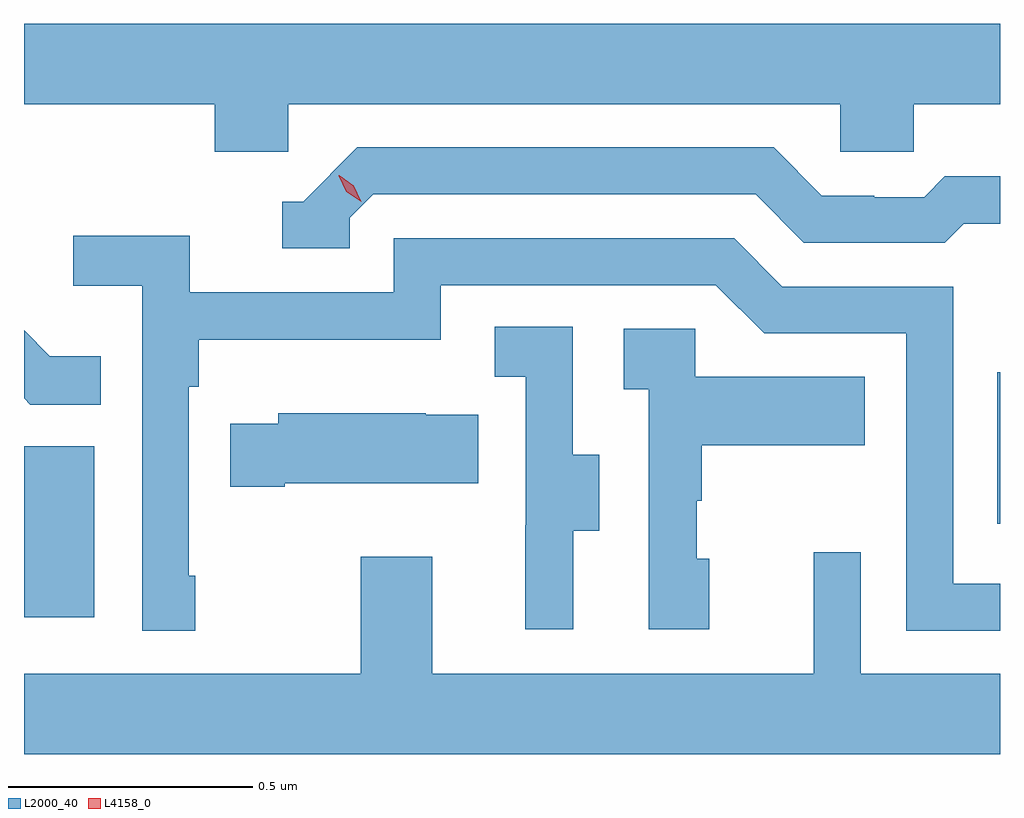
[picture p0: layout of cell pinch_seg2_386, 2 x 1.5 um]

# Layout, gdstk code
import gdstk
lib = gdstk.Library(unit=1e-6, precision=1e-09)
def R(c, l, rs):  # rectangles x0, y0, x1, y1
    for r in rs: c.add(gdstk.rectangle(r[:2], r[2:], *l))
def P(c, l, *ps):  # polygons
    for p in ps: c.add(gdstk.Polygon(p, *l))
L2000_40 = (2000, 40)
L4158_0 = (4158, 0)

pinch_seg2_386 = lib.new_cell('pinch_seg2_386')
R(pinch_seg2_386, L2000_40, [(1009.18,619.944,1009.324,620.295), (1011.174,620.136,1011.18,620.446)])
P(pinch_seg2_386, L2000_40, [(1009.722,620.996),(1010.853,620.996),(1010.853,620.898),(1011.003,620.898),(1011.003,620.996),(1011.18,620.996),(1011.18,621.16),(1009.18,621.16),(1009.18,620.996),(1009.571,620.996),(1009.571,620.898),(1009.722,620.898)],
  [(1009.848,620.763),(1009.896,620.811),(1010.679,620.811),(1010.778,620.712),(1011.067,620.712),(1011.106,620.751),(1011.18,620.751),(1011.18,620.848),(1011.067,620.848),(1011.025,620.805),(1010.922,620.805),(1010.922,620.808),(1010.815,620.808),(1010.716,620.907),(1009.863,620.907),(1009.752,620.796),(1009.709,620.796),(1009.709,620.7),(1009.848,620.7)],
  [(1009.531,620.029),(1009.518,620.029),(1009.518,620.417),(1009.538,620.417),(1009.538,620.513),(1010.034,620.513),(1010.034,620.625),(1010.598,620.625),(1010.697,620.526),(1010.988,620.526),(1010.988,619.917),(1011.18,619.917),(1011.18,620.013),(1011.084,620.013),(1011.084,620.622),(1010.734,620.622),(1010.635,620.721),(1009.938,620.721),(1009.938,620.61),(1009.52,620.61),(1009.52,620.726),(1009.281,620.726),(1009.281,620.624),(1009.422,620.624),(1009.422,619.917),(1009.531,619.917)],
  [(1010.305,620.122),(1010.359,620.122),(1010.359,620.277),(1010.304,620.277),(1010.304,620.54),(1010.145,620.54),(1010.145,620.437),(1010.208,620.437),(1010.208,620.133),(1010.207,620.133),(1010.207,619.92),(1010.305,619.92)],
  [(1010.584,620.064),(1010.559,620.064),(1010.559,620.183),(1010.569,620.183),(1010.569,620.297),(1010.903,620.297),(1010.903,620.437),(1010.556,620.437),(1010.556,620.535),(1010.409,620.535),(1010.409,620.411),(1010.46,620.411),(1010.46,619.92),(1010.584,619.92)],
  [(1009.337,620.479),(1009.233,620.479),(1009.18,620.532),(1009.18,620.393),(1009.193,620.38),(1009.337,620.38)],
  [(1009.714,620.219),(1010.111,620.219),(1010.111,620.359),(1010.003,620.359),(1010.003,620.362),(1009.701,620.362),(1009.701,620.341),(1009.603,620.341),(1009.603,620.212),(1009.714,620.212)],
  [(1011.18,619.828),(1010.895,619.828),(1010.895,620.077),(1010.798,620.077),(1010.798,619.828),(1010.017,619.828),(1010.017,620.068),(1009.87,620.068),(1009.87,619.828),(1009.18,619.828),(1009.18,619.664),(1011.18,619.664)])
P(pinch_seg2_386, L4158_0, [(1009.871,620.796),(1009.84,620.816),(1009.825,620.849),(1009.825,620.85),(1009.826,620.85),(1009.856,620.829),(1009.871,620.796),(1009.871,620.796)])

lib.write_gds('pinch_seg2_386.gds')
